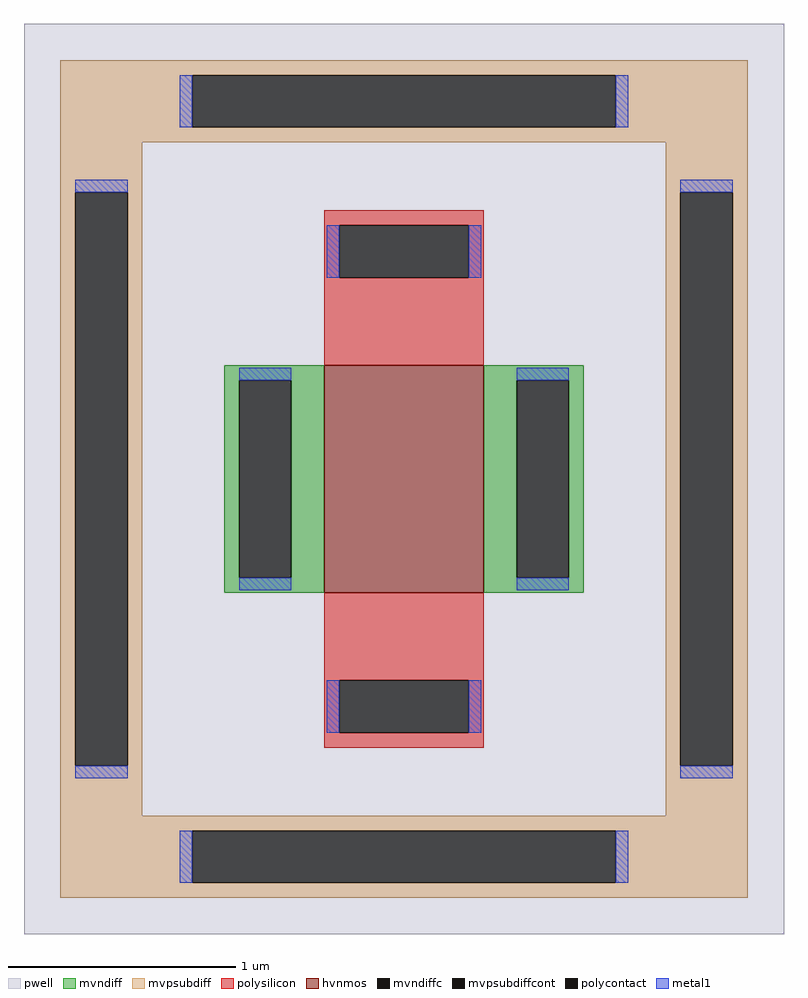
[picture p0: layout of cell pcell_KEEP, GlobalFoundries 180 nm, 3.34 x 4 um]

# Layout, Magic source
magic
tech gf180mcuD
magscale 1 10
<< pwell >>
rect -334 -400 334 400
<< hvnmos >>
rect -70 -100 70 100
<< mvndiff >>
rect -158 87 -70 100
rect -158 -87 -145 87
rect -99 -87 -70 87
rect -158 -100 -70 -87
rect 70 87 158 100
rect 70 -87 99 87
rect 145 -87 158 87
rect 70 -100 158 -87
<< mvndiffc >>
rect -145 -87 -99 87
rect 99 -87 145 87
<< mvpsubdiff >>
rect -302 355 302 368
rect -302 309 -186 355
rect 186 309 302 355
rect -302 296 302 309
rect -302 252 -230 296
rect -302 -252 -289 252
rect -243 -252 -230 252
rect 230 252 302 296
rect -302 -296 -230 -252
rect 230 -252 243 252
rect 289 -252 302 252
rect 230 -296 302 -252
rect -302 -309 302 -296
rect -302 -355 -186 -309
rect 186 -355 302 -309
rect -302 -368 302 -355
<< mvpsubdiffcont >>
rect -186 309 186 355
rect -289 -252 -243 252
rect 243 -252 289 252
rect -186 -355 186 -309
<< polysilicon >>
rect -70 223 70 236
rect -70 177 -57 223
rect 57 177 70 223
rect -70 100 70 177
rect -70 -177 70 -100
rect -70 -223 -57 -177
rect 57 -223 70 -177
rect -70 -236 70 -223
<< polycontact >>
rect -57 177 57 223
rect -57 -223 57 -177
<< metal1 >>
rect -197 309 -186 355
rect 186 309 197 355
rect -289 252 -243 263
rect 243 252 289 263
rect -68 177 -57 223
rect 57 177 68 223
rect -145 87 -99 98
rect -145 -98 -99 -87
rect 99 87 145 98
rect 99 -98 145 -87
rect -68 -223 -57 -177
rect 57 -223 68 -177
rect -289 -263 -243 -252
rect 243 -263 289 -252
rect -197 -355 -186 -309
rect 186 -355 197 -309
<< properties >>
string FIXED_BBOX -2660 -3320 2660 3320
<< end >>
